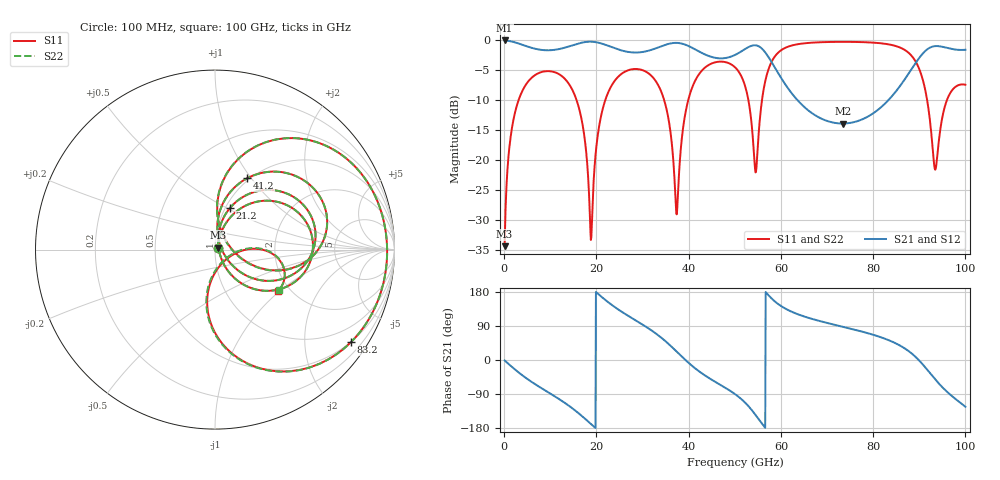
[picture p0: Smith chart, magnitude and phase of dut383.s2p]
! Touchstone file exported from HFSS 2026.1.0
!  File:  C:/ffzhzh/LocalFiles/Ansys_Project_Files/temp_train_TSV_RDL_383_1783716333_44652.aedt
!  Generated:  04:52:59 AM Jul 11, 2026
!  Design:  TSV_RDL
!  Project:  temp_train_TSV_RDL_383_1783716333_44652
! Variables:
!  h_bsmrdl = 2.16um
!  h_ox = 20um
!  h_rdl = 5um
!  h_sub = 72.61um
!  h_tmrdl = 3.99um
!  h_tsv = 72.61um
!  h_via = 3um
!  l_bsmrdl = 152.11um
!  l_sub = 2924.55um
!  l_tmrdl = 483.92um
!  m_sub = 200um
!  pitch = 54.15um
!  r_tsv = 12.1um
!  s_tmrdl = 10um
!  w_bsmrdl = 28.83um
!  w_sub = 500um
!  w_tmrdl = 15.35um
!  x_tsv_center1 = 491.595um
!  x_tsv_center2 = 672.535um
!  x_tsv_center3 = 1171.805um
!  x_tsv_center4 = 1352.745um
!  x_tsv_center5 = 1852.015um
!  x_tsv_center6 = 2032.955um
# GHz S MA R 50.000000
! Terminal data exported
! Port[1] = TM_RDL1_1_T1
! Port[2] = TM_RDL5_1_T1
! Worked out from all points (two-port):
!   1000 points, 100 MHz to 100 GHz, reference 50 ohm
!   highest |S21| = -0.13 dB at 100 MHz (marker M1); lowest = -14.0 dB at 73.4 GHz (marker M2)
!   |S21| within 3 dB of the highest: start of sweep to 57.5 GHz; 89.91 GHz to end of sweep
!   lowest |S11| = -34.4 dB at 100 MHz (marker M3), VSWR 1.04, Z = 51.5 + j1.19 ohm
!   |S11| at or under -10 dB: 15.67 GHz to 21.96 GHz (6.295 GHz wide, 33.5 % of centre); 34.66 GHz to 39.94 GHz (5.273 GHz wide, 14.1 % of centre); 91.69 GHz to 96.03 GHz (4.344 GHz wide, 4.63 % of centre) (the widest 3 of 5)
!   |S22| runs from -34.4 to -0.4 dB; largest |S21 - S12| = 1.7e-14
!   S11 on the Smith chart (normalised r, x): 100 MHz: 1.03, +0.02; 21.2 GHz: 1.05, +0.52; 41.2 GHz: 0.97, +0.96; 83.2 GHz: 0.49, -3.17; 100 GHz: 1.75, -0.97
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0.1  0.019 37.6  0.9851 -1.1  0.9851 -1.1  0.019 37.6
! Gamma 0 0 0 0
! Port Impedance 50 0 50 0
1.7  0.1844 65.7  0.9641 -18.4  0.9641 -18.4  0.1844 65.7
5  0.4373 37.5  0.878 -49.8  0.878 -49.8  0.4373 37.5
10.7  0.539 -4.9  0.8208 -93.8  0.8208 -93.8  0.539 -5.0
16.8  0.2155 -53.8  0.9438 -147.2  0.9438 -147.2  0.2155 -53.9
18.8  0.02141 0.3  0.9619 -168.6  0.9619 -168.6  0.02101 -0.1
21.2  0.2489 70.0  0.9268 165.8  0.9268 165.8  0.2488 70.1
28.1  0.5691 16.6  0.7819 107.6  0.7819 107.6  0.569 16.7
33.4  0.4178 -22.6  0.8616 65.3  0.8616 65.3  0.4178 -22.6
37.4  0.03496 22.4  0.9405 22.3  0.9405 22.3  0.03554 22.4
41.2  0.4377 65.6  0.8382 -20.0  0.8382 -20.0  0.4378 65.5
50.1  0.5862 1.6  0.7477 -90.4  0.7477 -90.4  0.5862 1.5
54.5  0.07826 27.0  0.8979 -145.0  0.8979 -145.0  0.0763 26.7
57.9  0.6441 66.2  0.6586 163.3  0.6586 163.3  0.6438 66.3
66.7  0.9441 16.7  0.2446 108.6  0.2446 108.6  0.944 16.7
73.4  0.9593 -2.5  0.2 87.8  0.2 87.8  0.9592 -2.6
83.2  0.9161 -34.3  0.3102 53.1  0.3102 53.1  0.916 -34.4
83.4  0.9133 -35.2  0.3161 52.2  0.3161 52.2  0.9132 -35.3
88.3  0.7364 -65.9  0.5663 17.8  0.5663 17.8  0.7361 -66.2
91.7  0.3145 -97.9  0.8294 -25.3  0.8294 -25.3  0.3133 -98.8
93.5  0.08257 -43.9  0.8841 -51.9  0.8841 -51.9  0.07754 -43.7
100  0.4208 -32.9  0.824 -123.3  0.824 -123.3  0.4204 -32.5
